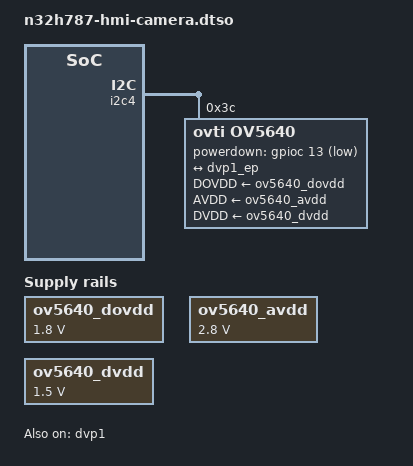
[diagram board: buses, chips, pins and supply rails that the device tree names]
// SPDX-License-Identifier: GPL-2.0-only

/dts-v1/;
/plugin/;

#include <dt-bindings/gpio/gpio.h>
#include <dt-bindings/media/video-interfaces.h>

&{/} {
	ov5640_dovdd: regulator-ov5640-dovdd {
		compatible = "regulator-fixed";
		regulator-name = "ov5640-dovdd";
		regulator-min-microvolt = <1800000>;
		regulator-max-microvolt = <1800000>;
	};

	ov5640_avdd: regulator-ov5640-avdd {
		compatible = "regulator-fixed";
		regulator-name = "ov5640-avdd";
		regulator-min-microvolt = <2800000>;
		regulator-max-microvolt = <2800000>;
	};

	ov5640_dvdd: regulator-ov5640-dvdd {
		compatible = "regulator-fixed";
		regulator-name = "ov5640-dvdd";
		regulator-min-microvolt = <1500000>;
		regulator-max-microvolt = <1500000>;
	};

	/* The camera module carries its own 24 MHz oscillator. */
	clk_ov5640: clock-ov5640 {
		compatible = "fixed-clock";
		#clock-cells = <0>;
		clock-frequency = <24000000>;
	};
};

&pinctrl {
	dvp1_pins: dvp1-pins {
		pins = "PC6", "PC7", "PB13", "PG11",
		       "PE4", "PB6", "PE5", "PE6",
		       "PA6", "PA4", "PB7";
		function = "dvp1";
		bias-disable;
		drive-strength = <3>;
		slew-rate = <0>;
	};
};

&cam_dma_pool {
	status = "okay";
};

&i2c4 {
	#address-cells = <1>;
	#size-cells = <0>;

	ov5640: camera@3c {
		compatible = "ovti,ov5640";
		reg = <0x3c>;
		clocks = <&clk_ov5640>;
		clock-names = "xclk";
		DOVDD-supply = <&ov5640_dovdd>;
		AVDD-supply = <&ov5640_avdd>;
		DVDD-supply = <&ov5640_dvdd>;
		ovti,max-dvp-pclk-hz = <96000000>;

		/*
		 * PC13 is RESETB.  The driver toggles a powerdown GPIO during
		 * power-up; declaring it as reset-gpios leaves this module held
		 * in reset.
		 */
		powerdown-gpios = <&gpioc 13 GPIO_ACTIVE_LOW>;
		status = "okay";

		port {
			ov5640_ep: endpoint {
				remote-endpoint = <&dvp1_ep>;
				bus-type = <MEDIA_BUS_TYPE_PARALLEL>;
				bus-width = <8>;
				hsync-active = <1>;
				vsync-active = <0>;
				pclk-sample = <1>;
			};
		};
	};
};

&dvp1 {
	pinctrl-names = "default";
	pinctrl-0 = <&dvp1_pins>;
	memory-region = <&cam_dma_pool>;
	status = "okay";

	port {
		dvp1_ep: endpoint {
			remote-endpoint = <&ov5640_ep>;
			bus-type = <MEDIA_BUS_TYPE_PARALLEL>;
			bus-width = <8>;
			/* The board input path presents the sensor syncs inverted. */
			hsync-active = <0>;
			vsync-active = <1>;
			pclk-sample = <1>;
		};
	};
};
